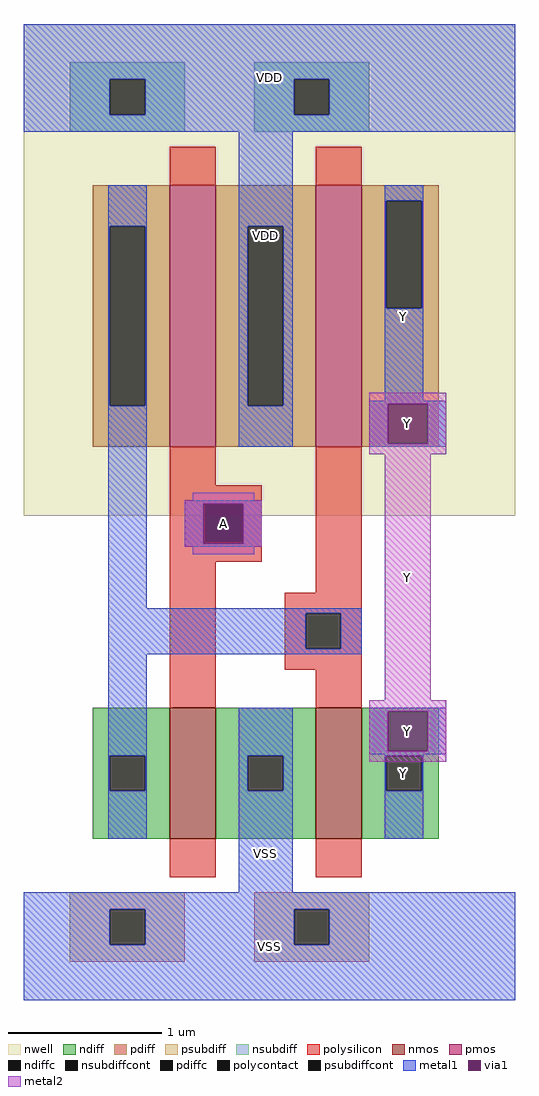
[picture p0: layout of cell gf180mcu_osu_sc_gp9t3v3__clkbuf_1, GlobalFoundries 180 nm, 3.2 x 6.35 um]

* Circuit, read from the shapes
.subckt gf180mcu_osu_sc_gp9t3v3__clkbuf_1 A Y VDD VSS
XM1 VSS A n1 VSS nfet_03v3 w=0.85u l=0.3u
XM2 Y n1 VSS VSS nfet_03v3 w=0.85u l=0.3u
XM3 VDD A n1 VDD pfet_03v3 w=1.7u l=0.3u
XM4 Y n1 VDD VDD pfet_03v3 w=1.7u l=0.3u
.ends

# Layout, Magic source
magic
tech gf180mcuA
magscale 1 10
<< nwell >>
rect 0 630 640 1270
<< nmos >>
rect 190 210 250 380
rect 380 210 440 380
<< pmos >>
rect 190 720 250 1060
rect 380 720 440 1060
<< ndiff >>
rect 90 318 190 380
rect 90 272 112 318
rect 158 272 190 318
rect 90 210 190 272
rect 250 318 380 380
rect 250 272 292 318
rect 338 272 380 318
rect 250 210 380 272
rect 440 318 540 380
rect 440 272 472 318
rect 518 272 540 318
rect 440 210 540 272
<< pdiff >>
rect 90 1007 190 1060
rect 90 773 112 1007
rect 158 773 190 1007
rect 90 720 190 773
rect 250 1007 380 1060
rect 250 773 292 1007
rect 338 773 380 1007
rect 250 720 380 773
rect 440 1040 540 1060
rect 440 900 472 1040
rect 518 900 540 1040
rect 440 720 540 900
<< ndiffc >>
rect 112 272 158 318
rect 292 272 338 318
rect 472 272 518 318
<< pdiffc >>
rect 112 773 158 1007
rect 292 773 338 1007
rect 472 900 518 1040
<< psubdiff >>
rect 60 118 210 140
rect 60 72 112 118
rect 158 72 210 118
rect 60 50 210 72
rect 300 118 450 140
rect 300 72 352 118
rect 398 72 450 118
rect 300 50 450 72
<< nsubdiff >>
rect 60 1198 210 1220
rect 60 1152 112 1198
rect 158 1152 210 1198
rect 60 1130 210 1152
rect 300 1198 450 1220
rect 300 1152 352 1198
rect 398 1152 450 1198
rect 300 1130 450 1152
<< psubdiffcont >>
rect 112 72 158 118
rect 352 72 398 118
<< nsubdiffcont >>
rect 112 1152 158 1198
rect 352 1152 398 1198
<< polysilicon >>
rect 190 1060 250 1110
rect 380 1060 440 1110
rect 190 670 250 720
rect 190 643 310 670
rect 190 597 237 643
rect 283 597 310 643
rect 190 570 310 597
rect 190 380 250 570
rect 380 530 440 720
rect 340 503 440 530
rect 340 457 367 503
rect 413 457 440 503
rect 340 430 440 457
rect 380 380 440 430
rect 190 160 250 210
rect 380 160 440 210
<< polycontact >>
rect 237 597 283 643
rect 367 457 413 503
<< metal1 >>
rect 0 1198 640 1270
rect 0 1152 112 1198
rect 158 1152 352 1198
rect 398 1152 640 1198
rect 0 1130 640 1152
rect 110 1007 160 1060
rect 110 773 112 1007
rect 158 773 160 1007
rect 110 510 160 773
rect 280 1007 350 1130
rect 280 773 292 1007
rect 338 773 350 1007
rect 470 1040 520 1060
rect 470 900 472 1040
rect 518 900 520 1040
rect 470 780 520 900
rect 280 720 350 773
rect 450 776 550 780
rect 450 724 474 776
rect 526 724 550 776
rect 450 720 550 724
rect 210 646 310 650
rect 210 594 234 646
rect 286 594 310 646
rect 210 590 310 594
rect 110 503 440 510
rect 110 457 367 503
rect 413 457 440 503
rect 110 450 440 457
rect 110 318 160 450
rect 110 272 112 318
rect 158 272 160 318
rect 110 210 160 272
rect 280 318 350 380
rect 450 376 550 380
rect 450 324 474 376
rect 526 324 550 376
rect 450 320 550 324
rect 280 272 292 318
rect 338 272 350 318
rect 280 140 350 272
rect 470 318 520 320
rect 470 272 472 318
rect 518 272 520 318
rect 470 210 520 272
rect 0 118 640 140
rect 0 72 112 118
rect 158 72 352 118
rect 398 72 640 118
rect 0 0 640 72
<< via1 >>
rect 474 724 526 776
rect 234 643 286 646
rect 234 597 237 643
rect 237 597 283 643
rect 283 597 286 643
rect 234 594 286 597
rect 474 324 526 376
<< metal2 >>
rect 450 776 550 790
rect 450 724 474 776
rect 526 724 550 776
rect 450 710 550 724
rect 220 650 300 660
rect 210 646 310 650
rect 210 594 234 646
rect 286 594 310 646
rect 210 590 310 594
rect 220 580 300 590
rect 470 390 530 710
rect 450 376 550 390
rect 450 324 474 376
rect 526 324 550 376
rect 450 310 550 324
<< labels >>
rlabel via1 s 234 594 286 646 4 A
port 1 nsew signal input
rlabel via1 s 474 324 526 376 4 Y
port 2 nsew signal output
rlabel metal1 s 280 720 350 1270 4 VDD
port 3 nsew power bidirectional abutment
rlabel metal1 s 280 0 350 380 4 VSS
port 4 nsew ground bidirectional abutment
rlabel metal1 s 0 1130 640 1270 1 VDD
port 3 nsew power bidirectional abutment
rlabel metal1 s 0 0 640 140 1 VSS
port 4 nsew ground bidirectional abutment
rlabel metal2 s 220 580 300 660 1 A
port 1 nsew signal input
rlabel metal2 s 210 590 310 650 1 A
port 1 nsew signal input
rlabel metal1 s 210 590 310 650 1 A
port 1 nsew signal input
rlabel via1 s 474 724 526 776 1 Y
port 2 nsew signal output
rlabel metal2 s 470 310 530 790 1 Y
port 2 nsew signal output
rlabel metal2 s 450 310 550 390 1 Y
port 2 nsew signal output
rlabel metal2 s 450 710 550 790 1 Y
port 2 nsew signal output
rlabel metal1 s 470 720 520 1060 1 Y
port 2 nsew signal output
rlabel metal1 s 450 720 550 780 1 Y
port 2 nsew signal output
rlabel metal1 s 470 210 520 380 1 Y
port 2 nsew signal output
rlabel metal1 s 450 320 550 380 1 Y
port 2 nsew signal output
<< properties >>
string FIXED_BBOX 0 0 640 1270
string GDS_END 99774
string GDS_FILE $PDKPATH/libs.ref/gf180mcu_osu_sc_gp9t3v3/gds/gf180mcu_osu_sc_gp9t3v3.gds
string GDS_START 95710
string LEFclass CORE
string LEFsite gf180mcu_osu_sc_gp9t3v3
string LEFsymmetry X Y
<< end >>
